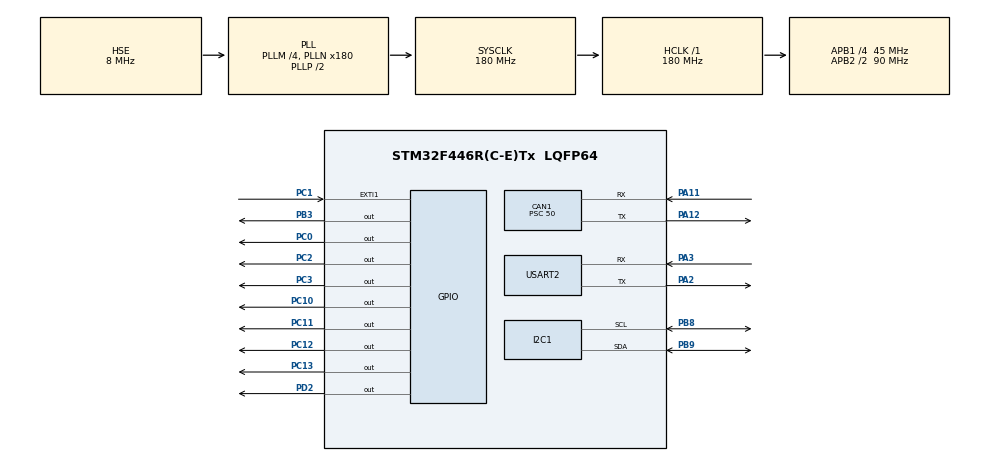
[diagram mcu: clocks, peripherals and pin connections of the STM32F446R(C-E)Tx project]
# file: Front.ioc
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CAN1.ABOM=ENABLE
CAN1.BS1=CAN_BS1_15TQ
CAN1.BS2=CAN_BS2_2TQ
CAN1.CalculateBaudRate=50000
CAN1.CalculateTimeBit=20000
CAN1.CalculateTimeQuantum=1111.111111111111
CAN1.NART=ENABLE
CAN1.Prescaler=50
I2C1.I2C_Mode=I2C_Fast
Mcu.Family=STM32F4
Mcu.Name=STM32F446R(C-E)Tx
Mcu.Package=LQFP64
NVIC.CAN1_RX0_IRQn=true\:0\:0\:false\:false\:true\:true\:true\:true
NVIC.EXTI1_IRQn=true\:0\:0\:false\:false\:true\:true\:true\:true
NVIC.I2C1_EV_IRQn=true\:0\:0\:false\:false\:true\:true\:true\:true
NVIC.PriorityGroup=NVIC_PRIORITYGROUP_0
NVIC.TIM7_IRQn=true\:0\:0\:false\:false\:true\:true\:true\:true
PA11.Mode=CAN_Activate
PA11.Signal=CAN1_RX
PA12.Mode=CAN_Activate
PA12.Signal=CAN1_TX
PA2.Mode=Asynchronous
PA2.Signal=USART2_TX
PA3.Mode=Asynchronous
PA3.Signal=USART2_RX
PB3.GPIO_ModeDefaultOutputPP=GPIO_MODE_OUTPUT_OD
PB3.GPIO_PuPd=GPIO_NOPULL
PB3.Signal=GPIO_Output
PB8.GPIO_Pu=GPIO_PULLUP
PB8.Mode=I2C
PB8.Signal=I2C1_SCL
PB9.GPIO_Pu=GPIO_PULLUP
PB9.Mode=I2C
PB9.Signal=I2C1_SDA
PC0.GPIO_ModeDefaultOutputPP=GPIO_MODE_OUTPUT_OD
PC0.GPIO_PuPd=GPIO_NOPULL
PC0.Signal=GPIO_Output
PC1.GPIO_ModeDefaultEXTI=GPIO_MODE_IT_FALLING
PC1.Signal=GPXTI1
PC10.GPIO_ModeDefaultOutputPP=GPIO_MODE_OUTPUT_PP
PC10.GPIO_PuPd=GPIO_NOPULL
PC10.Signal=GPIO_Output
PC11.GPIO_ModeDefaultOutputPP=GPIO_MODE_OUTPUT_OD
PC11.GPIO_PuPd=GPIO_NOPULL
PC11.Signal=GPIO_Output
PC12.GPIO_ModeDefaultOutputPP=GPIO_MODE_OUTPUT_OD
PC12.GPIO_PuPd=GPIO_NOPULL
PC12.Signal=GPIO_Output
PC13.GPIO_ModeDefaultOutputPP=GPIO_MODE_OUTPUT_OD
PC13.GPIO_PuPd=GPIO_NOPULL
PC13.Signal=GPIO_Output
PC14-OSC32_IN.Mode=LSE-External-Oscillator
PC14-OSC32_IN.Signal=RCC_OSC32_IN
PC15-OSC32_OUT.Mode=LSE-External-Oscillator
PC15-OSC32_OUT.Signal=RCC_OSC32_OUT
PC2.GPIO_ModeDefaultOutputPP=GPIO_MODE_OUTPUT_OD
PC2.GPIO_PuPd=GPIO_NOPULL
PC2.Signal=GPIO_Output
PC3.GPIO_ModeDefaultOutputPP=GPIO_MODE_OUTPUT_OD
PC3.GPIO_PuPd=GPIO_NOPULL
PC3.Signal=GPIO_Output
PD2.GPIO_ModeDefaultOutputPP=GPIO_MODE_OUTPUT_OD
PD2.GPIO_PuPd=GPIO_NOPULL
PD2.Signal=GPIO_Output
PH0-OSC_IN.Mode=HSE-External-Oscillator
PH0-OSC_IN.Signal=RCC_OSC_IN
PH1-OSC_OUT.Mode=HSE-External-Oscillator
PH1-OSC_OUT.Signal=RCC_OSC_OUT
ProjectManager.HeapSize=0x200
ProjectManager.StackSize=0x400
ProjectManager.TargetToolchain=STM32CubeIDE
RCC.AHBFreq_Value=180000000
RCC.APB1CLKDivider=RCC_HCLK_DIV4
RCC.APB1Freq_Value=45000000
RCC.APB1TimFreq_Value=90000000
RCC.APB2CLKDivider=RCC_HCLK_DIV2
RCC.APB2Freq_Value=90000000
RCC.APB2TimFreq_Value=180000000
RCC.CortexFreq_Value=180000000
RCC.FLatency-AdvancedSettings=FLASH_LATENCY_5
RCC.HCLKFreq_Value=180000000
RCC.HSE_VALUE=8000000
RCC.HSI_VALUE=16000000
RCC.PLLM=4
RCC.PLLN=180
RCC.PLLSourceVirtual=RCC_PLLSOURCE_HSE
RCC.SYSCLKFreq_VALUE=180000000
RCC.SYSCLKSource=RCC_SYSCLKSOURCE_PLLCLK
RCC.USBFreq_Value=180000000
RCC.VCOOutputFreq_Value=360000000
TIM7.Period=1000-1
TIM7.Prescaler=720-1
USART2.VirtualMode=VM_ASYNC
VP_TIM7_VS_ClockSourceINT.Mode=Enable_Timer
board=NUCLEO-F446RE

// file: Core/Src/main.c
/* USER CODE BEGIN Header */
/**
  ******************************************************************************
  * @file           : main.c
  * @brief          : Main program body
  ******************************************************************************
  * @attention
  *
  * Copyright (c) 2022 STMicroelectronics.
  * All rights reserved.
  *
  * This software is licensed under terms that can be found in the LICENSE file
  * in the root directory of this software component.
  * If no LICENSE file comes with this software, it is provided AS-IS.
  *
  ******************************************************************************
  */
/* USER CODE END Header */
#include "main.h"

/* USER CODE BEGIN Includes */
#include "VL53L1X_api.h"
/* USER CODE END Includes */

CAN_HandleTypeDef hcan1;

I2C_HandleTypeDef hi2c1;

TIM_HandleTypeDef htim7;

UART_HandleTypeDef huart2;

/* USER CODE BEGIN PV */
uint16_t dev = 0x52;

uint8_t nof = 6;
uint16_t* dis = NULL;

uint8_t devs[9] = {
		0x54,
		0x56,
		0x58,
		0x5A,
		0x5C,
		0x5E,
		0x60,
		0x62,
		0x64
};

CAN_FilterTypeDef canFilter1;
CAN_RxHeaderTypeDef can1RxHeader;
CAN_TxHeaderTypeDef can1TxHeader;

uint8_t can1Rx0Data[8];
uint32_t TxMailBox1;
uint8_t can1Tx0Data[8];
volatile uint8_t can1_rx0_flag = 0;
/* USER CODE END PV */

void SystemClock_Config(void);
static void MX_GPIO_Init(void);
static void MX_CAN1_Init(void);
static void MX_I2C1_Init(void);
static void MX_USART2_UART_Init(void);
static void MX_TIM7_Init(void);
/* USER CODE BEGIN PFP */
void TurnOffAll(void);
uint8_t TurnOnAt(uint8_t i);
uint16_t ChangeAddresses(uint8_t num_of_tof);
uint8_t GetAllData(uint8_t num_of_tof, uint16_t dis[num_of_tof]);
void PrintAllData(uint8_t num_of_tof, uint16_t dis[num_of_tof]);

void HAL_CAN_RxFifo0MsgPendingCallback(CAN_HandleTypeDef *hcan);
void CAN_Filter_Init(void);
void CAN_Send(uint8_t ID, uint8_t data0, uint8_t data1, uint8_t data2, uint8_t data3, uint8_t data4, uint8_t data5, uint8_t data6, uint8_t data7);
void HAL_TIM_PeriodElapsedCallback(TIM_HandleTypeDef *htim);
void HAL_GPIO_EXTI_Callback(uint16_t GPIO_Pin);
/* USER CODE END PFP */

/* USER CODE BEGIN 0 */
int _write(int file, char* p, int len) {
	HAL_UART_Transmit(&huart2, p, len, 16);
	return len;
}
/* USER CODE END 0 */

int main(void)
{

  /* MCU Configuration--------------------------------------------------------*/

  /* Reset of all peripherals, Initializes the Flash interface and the Systick. */
  HAL_Init();

  /* USER CODE BEGIN Init */
  dis = calloc(nof, 16 * nof);
  /* USER CODE END Init */

  /* Configure the system clock */
  SystemClock_Config();

  /* Initialize all configured peripherals */
  MX_GPIO_Init();
  MX_CAN1_Init();
  MX_I2C1_Init();
  MX_USART2_UART_Init();
  MX_TIM7_Init();
  /* USER CODE BEGIN 2 */
  HAL_NVIC_DisableIRQ(EXTI1_IRQn);

  CAN_Filter_Init();

//	uint8_t bootState = 0;
//	uint8_t boot[8] = {66, 79, 79, 84, 48, 13, 10, 0};
//	while(bootState==0){
//		VL53L1X_BootState(dev, &bootState);
//		HAL_UART_Transmit(&huart2, boot, 8, 10);
//		HAL_Delay(2);
//	}
//	HAL_Delay(5);
//	VL53L1X_SensorInit(dev);
//	VL53L1X_SetInterruptPolarity(dev, 0);
//	VL53L1X_StartRanging(dev);

  if (!(ChangeAddresses(nof))) {
	  //HAL_UART_Transmit(&huart2, fail, 6, 10);
  }
  else {
	  //HAL_UART_Transmit(&huart2, succ, 6, 10);
  }
  VL53L1X_SetInterruptPolarity(devs[0], 0);
  VL53L1X_ClearInterrupt(devs[0]);
  HAL_Delay(100);
  	  GetAllData(nof, dis);
  	  PrintAllData(nof, dis);
  HAL_NVIC_EnableIRQ(EXTI1_IRQn);

  /* USER CODE END 2 */

  /* Infinite loop */
  /* USER CODE BEGIN WHILE */

  //HAL_TIM_Base_Start_IT(&htim7);
  while (1)
  {
//	  while (dataReady == 0){
//		  VL53L1X_CheckForDataReady(dev, &dataReady);
//		  //HAL_UART_Transmit(&huart2, getting, 6, 10);
//		  HAL_Delay(2);
//	  }
//	  VL53L1X_GetDistance(dev, &dis[0]);
//	  	  VL53L1X_ClearInterrupt(dev);
//	  	printf("%d\r\n", dis[0]);
//	  		  dataReady = 0;
//	  		  HAL_Delay(50);

//	  CAN_Send(0x10, (dis[0] & 0xFF00) >> 8, (dis[0] & 0xFF), (dis[1] & 0xFF00) >> 8, (dis[1] & 0xFF), (dis[2] & 0xFF00) >> 8, (dis[2] & 0xFF), 7, 0);
//
//	  if (can1_rx0_flag == 1) {
//		  can1_rx0_flag = 0;
//			printf("%d%d\r\n", 0, 1);
//		  //HAL_UART_Transmit(&huart2, outer, 6, 10);
//	  }
//	  GetAllData(nof, dis);
//	  PrintAllData(nof, dis);
//	  HAL_Delay(400);
    /* USER CODE END WHILE */

  }
}

void SystemClock_Config(void)
{
  RCC_OscInitTypeDef RCC_OscInitStruct = {0};
  RCC_ClkInitTypeDef RCC_ClkInitStruct = {0};

  /** Configure the main internal regulator output voltage
  */
  __HAL_RCC_PWR_CLK_ENABLE();
  __HAL_PWR_VOLTAGESCALING_CONFIG(PWR_REGULATOR_VOLTAGE_SCALE1);

  /** Initializes the RCC Oscillators according to the specified parameters
  * in the RCC_OscInitTypeDef structure.
  */
  RCC_OscInitStruct.OscillatorType = RCC_OSCILLATORTYPE_HSE;
  RCC_OscInitStruct.HSEState = RCC_HSE_ON;
  RCC_OscInitStruct.PLL.PLLState = RCC_PLL_ON;
  RCC_OscInitStruct.PLL.PLLSource = RCC_PLLSOURCE_HSE;
  RCC_OscInitStruct.PLL.PLLM = 4;
  RCC_OscInitStruct.PLL.PLLN = 180;
  RCC_OscInitStruct.PLL.PLLP = RCC_PLLP_DIV2;
  RCC_OscInitStruct.PLL.PLLQ = 2;
  RCC_OscInitStruct.PLL.PLLR = 2;
  if (HAL_RCC_OscConfig(&RCC_OscInitStruct) != HAL_OK)
  {
    Error_Handler();
  }

  /** Activate the Over-Drive mode
  */
  if (HAL_PWREx_EnableOverDrive() != HAL_OK)
  {
    Error_Handler();
  }

  /** Initializes the CPU, AHB and APB buses clocks
  */
  RCC_ClkInitStruct.ClockType = RCC_CLOCKTYPE_HCLK|RCC_CLOCKTYPE_SYSCLK
                              |RCC_CLOCKTYPE_PCLK1|RCC_CLOCKTYPE_PCLK2;
  RCC_ClkInitStruct.SYSCLKSource = RCC_SYSCLKSOURCE_PLLCLK;
  RCC_ClkInitStruct.AHBCLKDivider = RCC_SYSCLK_DIV1;
  RCC_ClkInitStruct.APB1CLKDivider = RCC_HCLK_DIV4;
  RCC_ClkInitStruct.APB2CLKDivider = RCC_HCLK_DIV2;

  if (HAL_RCC_ClockConfig(&RCC_ClkInitStruct, FLASH_LATENCY_5) != HAL_OK)
  {
    Error_Handler();
  }
}

static void MX_CAN1_Init(void)
{

  hcan1.Instance = CAN1;
  hcan1.Init.Prescaler = 50;
  hcan1.Init.Mode = CAN_MODE_NORMAL;
  hcan1.Init.SyncJumpWidth = CAN_SJW_1TQ;
  hcan1.Init.TimeSeg1 = CAN_BS1_15TQ;
  hcan1.Init.TimeSeg2 = CAN_BS2_2TQ;
  hcan1.Init.TimeTriggeredMode = DISABLE;
  hcan1.Init.AutoBusOff = ENABLE;
  hcan1.Init.AutoWakeUp = DISABLE;
  hcan1.Init.AutoRetransmission = ENABLE;
  hcan1.Init.ReceiveFifoLocked = DISABLE;
  hcan1.Init.TransmitFifoPriority = DISABLE;
  if (HAL_CAN_Init(&hcan1) != HAL_OK)
  {
    Error_Handler();
  }

}

static void MX_I2C1_Init(void)
{

  hi2c1.Instance = I2C1;
  hi2c1.Init.ClockSpeed = 400000;
  hi2c1.Init.DutyCycle = I2C_DUTYCYCLE_2;
  hi2c1.Init.OwnAddress1 = 0;
  hi2c1.Init.AddressingMode = I2C_ADDRESSINGMODE_7BIT;
  hi2c1.Init.DualAddressMode = I2C_DUALADDRESS_DISABLE;
  hi2c1.Init.OwnAddress2 = 0;
  hi2c1.Init.GeneralCallMode = I2C_GENERALCALL_DISABLE;
  hi2c1.Init.NoStretchMode = I2C_NOSTRETCH_DISABLE;
  if (HAL_I2C_Init(&hi2c1) != HAL_OK)
  {
    Error_Handler();
  }

}

static void MX_TIM7_Init(void)
{

  TIM_MasterConfigTypeDef sMasterConfig = {0};

  htim7.Instance = TIM7;
  htim7.Init.Prescaler = 720-1;
  htim7.Init.CounterMode = TIM_COUNTERMODE_UP;
  htim7.Init.Period = 1000-1;
  htim7.Init.AutoReloadPreload = TIM_AUTORELOAD_PRELOAD_DISABLE;
  if (HAL_TIM_Base_Init(&htim7) != HAL_OK)
  {
    Error_Handler();
  }
  sMasterConfig.MasterOutputTrigger = TIM_TRGO_RESET;
  sMasterConfig.MasterSlaveMode = TIM_MASTERSLAVEMODE_DISABLE;
  if (HAL_TIMEx_MasterConfigSynchronization(&htim7, &sMasterConfig) != HAL_OK)
  {
    Error_Handler();
  }

}

static void MX_USART2_UART_Init(void)
{

  huart2.Instance = USART2;
  huart2.Init.BaudRate = 115200;
  huart2.Init.WordLength = UART_WORDLENGTH_8B;
  huart2.Init.StopBits = UART_STOPBITS_1;
  huart2.Init.Parity = UART_PARITY_NONE;
  huart2.Init.Mode = UART_MODE_TX_RX;
  huart2.Init.HwFlowCtl = UART_HWCONTROL_NONE;
  huart2.Init.OverSampling = UART_OVERSAMPLING_16;
  if (HAL_UART_Init(&huart2) != HAL_OK)
  {
    Error_Handler();
  }

}

static void MX_GPIO_Init(void)
{
  GPIO_InitTypeDef GPIO_InitStruct = {0};

  /* GPIO Ports Clock Enable */
  __HAL_RCC_GPIOC_CLK_ENABLE();
  __HAL_RCC_GPIOH_CLK_ENABLE();
  __HAL_RCC_GPIOA_CLK_ENABLE();
  __HAL_RCC_GPIOD_CLK_ENABLE();
  __HAL_RCC_GPIOB_CLK_ENABLE();

  /*Configure GPIO pin Output Level */
  HAL_GPIO_WritePin(GPIOC, GPIO_PIN_13|GPIO_PIN_0|GPIO_PIN_2|GPIO_PIN_3
                          |GPIO_PIN_10|GPIO_PIN_11|GPIO_PIN_12, GPIO_PIN_RESET);

  /*Configure GPIO pin Output Level */
  HAL_GPIO_WritePin(GPIOD, GPIO_PIN_2, GPIO_PIN_RESET);

  /*Configure GPIO pin Output Level */
  HAL_GPIO_WritePin(GPIOB, GPIO_PIN_3, GPIO_PIN_RESET);

  /*Configure GPIO pins : PC13 PC0 PC2 PC3
                           PC11 PC12 */
  GPIO_InitStruct.Pin = GPIO_PIN_13|GPIO_PIN_0|GPIO_PIN_2|GPIO_PIN_3
                          |GPIO_PIN_11|GPIO_PIN_12;
  GPIO_InitStruct.Mode = GPIO_MODE_OUTPUT_OD;
  GPIO_InitStruct.Pull = GPIO_NOPULL;
  GPIO_InitStruct.Speed = GPIO_SPEED_FREQ_LOW;
  HAL_GPIO_Init(GPIOC, &GPIO_InitStruct);

  /*Configure GPIO pin : PC1 */
  GPIO_InitStruct.Pin = GPIO_PIN_1;
  GPIO_InitStruct.Mode = GPIO_MODE_IT_FALLING;
  GPIO_InitStruct.Pull = GPIO_NOPULL;
  HAL_GPIO_Init(GPIOC, &GPIO_InitStruct);

  /*Configure GPIO pin : PC10 */
  GPIO_InitStruct.Pin = GPIO_PIN_10;
  GPIO_InitStruct.Mode = GPIO_MODE_OUTPUT_PP;
  GPIO_InitStruct.Pull = GPIO_NOPULL;
  GPIO_InitStruct.Speed = GPIO_SPEED_FREQ_LOW;
  HAL_GPIO_Init(GPIOC, &GPIO_InitStruct);

  /*Configure GPIO pin : PD2 */
  GPIO_InitStruct.Pin = GPIO_PIN_2;
  GPIO_InitStruct.Mode = GPIO_MODE_OUTPUT_OD;
  GPIO_InitStruct.Pull = GPIO_NOPULL;
  GPIO_InitStruct.Speed = GPIO_SPEED_FREQ_LOW;
  HAL_GPIO_Init(GPIOD, &GPIO_InitStruct);

  /*Configure GPIO pin : PB3 */
  GPIO_InitStruct.Pin = GPIO_PIN_3;
  GPIO_InitStruct.Mode = GPIO_MODE_OUTPUT_OD;
  GPIO_InitStruct.Pull = GPIO_NOPULL;
  GPIO_InitStruct.Speed = GPIO_SPEED_FREQ_LOW;
  HAL_GPIO_Init(GPIOB, &GPIO_InitStruct);

  /* EXTI interrupt init*/
  HAL_NVIC_SetPriority(EXTI1_IRQn, 0, 0);
  HAL_NVIC_EnableIRQ(EXTI1_IRQn);

}

/* USER CODE BEGIN 4 */
void TurnOffAll(void) {
	  HAL_GPIO_WritePin(GPIOC, GPIO_PIN_10, GPIO_PIN_RESET);
	  HAL_GPIO_WritePin(GPIOC, GPIO_PIN_11, GPIO_PIN_RESET);
	  HAL_GPIO_WritePin(GPIOC, GPIO_PIN_12, GPIO_PIN_RESET);
	  HAL_GPIO_WritePin(GPIOD, GPIO_PIN_2, GPIO_PIN_RESET);
	  HAL_GPIO_WritePin(GPIOC, GPIO_PIN_13, GPIO_PIN_RESET);
	  HAL_GPIO_WritePin(GPIOC, GPIO_PIN_2, GPIO_PIN_RESET);
	  HAL_GPIO_WritePin(GPIOC, GPIO_PIN_3, GPIO_PIN_RESET);
	  HAL_GPIO_WritePin(GPIOC, GPIO_PIN_0, GPIO_PIN_RESET);
	  HAL_GPIO_WritePin(GPIOC, GPIO_PIN_1, GPIO_PIN_RESET);
}

uint8_t TurnOnAt(uint8_t i) {
	uint8_t bootState = 0;
	uint8_t boot[8] = {66, 79, 79, 84, 48, 13, 10, 0};
	switch (i) {
	case 0:
		HAL_GPIO_WritePin(GPIOC, GPIO_PIN_10, GPIO_PIN_SET);
		HAL_Delay(10);
		while(bootState==0){
			HAL_GPIO_WritePin(GPIOC, GPIO_PIN_10, GPIO_PIN_SET);
			HAL_Delay(10);
			VL53L1X_BootState(dev, &bootState);
			HAL_UART_Transmit(&huart2, boot, 8, 10);
			HAL_Delay(2);
		}
		break;
	case 1:
		HAL_GPIO_WritePin(GPIOC, GPIO_PIN_11, GPIO_PIN_SET);
		HAL_Delay(10);
		boot[4] = 49;
		while(bootState==0){
			HAL_GPIO_WritePin(GPIOC, GPIO_PIN_11, GPIO_PIN_SET);
			HAL_Delay(10);
			VL53L1X_BootState(dev, &bootState);
			HAL_UART_Transmit(&huart2, boot, 8, 10);
			HAL_Delay(2);
		}
		break;
	case 2:
		HAL_GPIO_WritePin(GPIOC, GPIO_PIN_12, GPIO_PIN_SET);
		HAL_Delay(10);
		boot[4] = 50;
		while(bootState==0){
			HAL_GPIO_WritePin(GPIOC, GPIO_PIN_12, GPIO_PIN_SET);
			HAL_Delay(10);
			VL53L1X_BootState(dev, &bootState);
			HAL_UART_Transmit(&huart2, boot, 8, 10);
			HAL_Delay(2);
		}
		break;
	case 3:
		HAL_GPIO_WritePin(GPIOD, GPIO_PIN_2, GPIO_PIN_SET);
		HAL_Delay(10);
		boot[4] = 51;
		while(bootState==0){
			HAL_GPIO_WritePin(GPIOD, GPIO_PIN_2, GPIO_PIN_SET);
			HAL_Delay(10);
			VL53L1X_BootState(dev, &bootState);
			HAL_UART_Transmit(&huart2, boot, 8, 10);
			HAL_Delay(2);
		}
		break;
	case 4:
		HAL_GPIO_WritePin(GPIOC, GPIO_PIN_13, GPIO_PIN_SET);
		HAL_Delay(10);
		boot[4] = 52;
		while(bootState==0){
			HAL_GPIO_WritePin(GPIOC, GPIO_PIN_13, GPIO_PIN_SET);
			HAL_Delay(10);
			VL53L1X_BootState(dev, &bootState);
			HAL_UART_Transmit(&huart2, boot, 8, 10);
			HAL_Delay(2);
		}
		break;
	case 5:
		HAL_GPIO_WritePin(GPIOC, GPIO_PIN_2, GPIO_PIN_SET);
		HAL_Delay(10);
		boot[4] = 53;
		while(bootState==0){
			HAL_GPIO_WritePin(GPIOC, GPIO_PIN_2, GPIO_PIN_SET);
			HAL_Delay(10);
			VL53L1X_BootState(dev, &bootState);
			HAL_UART_Transmit(&huart2, boot, 8, 10);
			HAL_Delay(2);
		}
		break;
	case 6:
		HAL_GPIO_WritePin(GPIOC, GPIO_PIN_3, GPIO_PIN_SET);
		HAL_Delay(10);
		boot[4] = 54;
		while(bootState==0){
			HAL_GPIO_WritePin(GPIOC, GPIO_PIN_3, GPIO_PIN_SET);
			HAL_Delay(10);
			VL53L1X_BootState(dev, &bootState);
			HAL_UART_Transmit(&huart2, boot, 8, 10);
			HAL_Delay(2);
		}
		break;
	case 7:
		HAL_GPIO_WritePin(GPIOC, GPIO_PIN_0, GPIO_PIN_SET);
		HAL_Delay(10);
		boot[4] = 55;
		while(bootState==0){
			HAL_GPIO_WritePin(GPIOC, GPIO_PIN_0, GPIO_PIN_SET);
			HAL_Delay(10);
			VL53L1X_BootState(dev, &bootState);
			HAL_UART_Transmit(&huart2, boot, 8, 10);
			HAL_Delay(2);
		}
		break;
	case 8:
		HAL_GPIO_WritePin(GPIOC, GPIO_PIN_1, GPIO_PIN_SET);
		HAL_Delay(10);
		boot[4] = 56;
		while(bootState==0){
			HAL_GPIO_WritePin(GPIOC, GPIO_PIN_1, GPIO_PIN_SET);
			HAL_Delay(10);
			VL53L1X_BootState(dev, &bootState);
			HAL_UART_Transmit(&huart2, boot, 8, 10);
			HAL_Delay(2);
		}
		break;
	default:
		;
		// shit
	}
	return bootState;
}

uint16_t ChangeAddresses(uint8_t num_of_tof) {
	uint8_t success = 1;
	TurnOffAll();
	HAL_Delay(10);
	for (uint8_t i = 0; i != num_of_tof; ++i) {
		success *= TurnOnAt(i);
		HAL_Delay(5);
		printf("try init: %d\r\n", i);
		VL53L1X_SensorInit(dev);
		printf("try addr change: %d\r\n", i);
		VL53L1X_SetI2CAddress(dev, devs[i]);
		VL53L1X_StartRanging(devs[i]);
		printf("done: %d\r\n", i);
	}
	return success;
}

uint8_t GetAllData(uint8_t num_of_tof, uint16_t dis[num_of_tof]) {
	//printf("getting %d\r\n", 0);
	//HAL_Delay(2);
	//printf("WTF1 %d\r\n", 0);
	VL53L1X_GetDistance(devs[0], &dis[0]);
	//printf("WTF2 %d\r\n", 0);
	VL53L1X_ClearInterrupt(devs[0]);
	//printf("WTF3 %d\r\n", 0);

	uint8_t dataReady = 0;
	for (uint8_t i = 1; i != num_of_tof; ++i) {
		dataReady = 0;
		while (dataReady == 0){
			VL53L1X_CheckForDataReady(devs[i], &dataReady);
			//printf("getting %d\r\n", i);
			//HAL_Delay(2);
		}
		VL53L1X_GetDistance(devs[i], &dis[i]);
		VL53L1X_ClearInterrupt(devs[i]);
	}
	//HAL_Delay(50);
}

void PrintAllData(uint8_t num_of_tof, uint16_t dis[num_of_tof]) {
	for (int i = 0; i != num_of_tof; ++i) {
		printf("%d:%d\r\n", i, dis[i]);
	}
	//HAL_Delay(500);
}

void CAN_Filter_Init(void)
{
	//Set the CAN Filter which has Mask Ids
	//CAN Filter1
	//Receiving CAN data via 0x102~0x10E
//	canFilter1.FilterMaskIdHigh = 0x7F3 << 5; // Shift 5 bit
//	canFilter1.FilterIdHigh = 0x106 << 5;
//	canFilter1.FilterMaskIdLow = 0x7F3 << 5; // Shift 5 bit
//	canFilter1.FilterIdLow = 0x106 << 5;
	canFilter1.FilterMaskIdHigh = 0x000 << 5; // Shift 5 bit
	canFilter1.FilterIdHigh = 0x000 << 5;
	canFilter1.FilterMaskIdLow = 0x000 << 5; // Shift 5 bit
	canFilter1.FilterIdLow = 0x000 << 5;
	canFilter1.FilterMode = CAN_FILTERMODE_IDMASK;
	canFilter1.FilterScale = CAN_FILTERSCALE_16BIT;
	canFilter1.FilterFIFOAssignment = CAN_FILTER_FIFO0;
	canFilter1.FilterBank = 0;
	canFilter1.FilterActivation = ENABLE;

	/* Set options for messages; ID type(standard), Length(8 byte) */
	can1TxHeader.RTR = CAN_RTR_DATA;
	can1TxHeader.IDE = CAN_ID_STD;
	can1TxHeader.DLC = 8;

	HAL_CAN_ConfigFilter(&hcan1, &canFilter1);
	HAL_CAN_ActivateNotification(&hcan1, CAN_IT_RX_FIFO0_MSG_PENDING);
	HAL_CAN_Start(&hcan1);
}

void CAN_Send(uint8_t ID, uint8_t data0, uint8_t data1, uint8_t data2, uint8_t data3, uint8_t data4, uint8_t data5, uint8_t data6, uint8_t data7)
{
	  /* Set options for messages; Address */
	  can1TxHeader.StdId = ID;

	  can1Tx0Data[7] = data7;
	  can1Tx0Data[6] = data6;
	  can1Tx0Data[5] = data5;
	  can1Tx0Data[4] = data4;
	  can1Tx0Data[3] = data3;
	  can1Tx0Data[2] = data2;
	  can1Tx0Data[1] = data1;
	  can1Tx0Data[0] = data0;
//
//	  can1Tx0Data[7] = 0;
//	  can1Tx0Data[6] = 10;
//	  can1Tx0Data[5] = 13;
//	  can1Tx0Data[4] = 111;
//	  can1Tx0Data[3] = 108;
//	  can1Tx0Data[2] = 108;
//	  can1Tx0Data[1] = 101;
//	  can1Tx0Data[0] = 72;

	  TxMailBox1 = HAL_CAN_GetTxMailboxesFreeLevel(&hcan1);
	  HAL_CAN_AddTxMessage(&hcan1, &can1TxHeader, &can1Tx0Data[0], &TxMailBox1);
}

/* Receiving CAN Data */
/* Get CAN1 message Through FIFO0 */
void HAL_CAN_RxFifo0MsgPendingCallback(CAN_HandleTypeDef *hcan)
{
	HAL_CAN_GetRxMessage(&hcan1, CAN_RX_FIFO0, &can1RxHeader, &can1Rx0Data[0]);
//	can1_rx0_flag = 1;
	printf("1231241\r\n");
}

void HAL_TIM_PeriodElapsedCallback(TIM_HandleTypeDef *htim) {
	printf("%d\r\n", dis[0]);
	//CAN_Send(0x10, dis[0] >> 8, dis[0] & 0xFF, dis[1] >> 8, dis[1] & 0xFF, dis[2] >> 8, dis[2] & 0xFF, dis[3] >> 8, dis[3] & 0xFF);
}

void HAL_GPIO_EXTI_Callback(uint16_t GPIO_Pin) {
	GetAllData(nof, dis);
	CAN_Send(0x10, dis[0] >> 8, dis[0] & 0xFF, dis[1] >> 8, dis[1] & 0xFF, dis[2] >> 8, dis[2] & 0xFF, dis[3] >> 8, dis[3] & 0xFF);
}
/* USER CODE END 4 */

void Error_Handler(void)
{
  __disable_irq();
  while (1)
  {
  }
}
